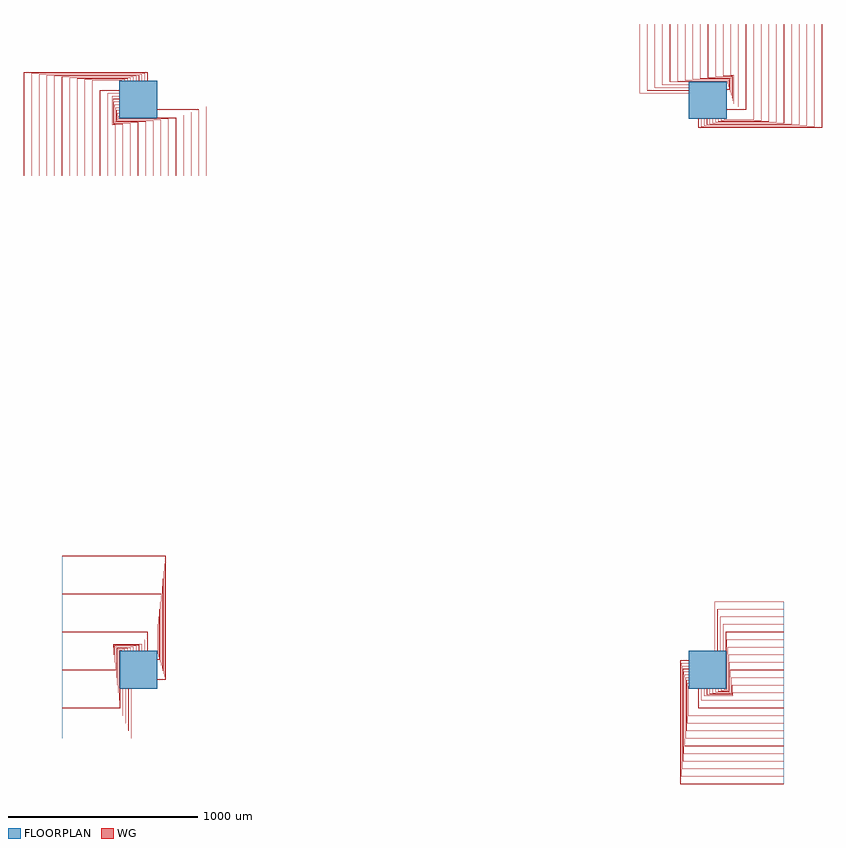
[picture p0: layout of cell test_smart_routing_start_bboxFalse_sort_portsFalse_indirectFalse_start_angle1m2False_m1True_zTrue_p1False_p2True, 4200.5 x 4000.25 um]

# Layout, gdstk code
import gdstk
lib = gdstk.Library(unit=1e-6, precision=1e-09)
def R(c, l, rs):  # rectangles x0, y0, x1, y1
    for r in rs: c.add(gdstk.rectangle(r[:2], r[2:], *l))
def P(c, l, *ps):  # polygons
    for p in ps: c.add(gdstk.Polygon(p, *l))
WG = (1, 0)
FLOORPLAN = (10, 0)

test_smart_routing_start = lib.new_cell('test_smart_routing_start_bboxFalse_sort_portsFalse_indirectFalse_start_angle1m2False_m1True_zTrue_p1False_p2True')
P(test_smart_routing_start, WG, [(100,-50.25),(100,-49.75),(144.5,-49.75),(144.5,599.75),(-400,599.75),(-400,600.25),(145,600.25),(145,-50.25)],
  [(100,-35.25),(100,-34.75),(140,-34.75),(140,559.75),(-400,559.75),(-400,560.25),(140.5,560.25),(140.5,-35.25)],
  [(100,-20.25),(100,-19.75),(135.5,-19.75),(135.5,519.75),(-400,519.75),(-400,520.25),(136,520.25),(136,-20.25)],
  [(100,-5.25),(100,-4.75),(131,-4.75),(131,479.75),(-400,479.75),(-400,480.25),(131.5,480.25),(131.5,-5.25)],
  [(100,9.75),(100,10.25),(126.5,10.25),(126.5,439.75),(-400,439.75),(-400,440.25),(127,440.25),(127,9.75)],
  [(100,24.75),(100,25.25),(122,25.25),(122,399.75),(-400,399.75),(-400,400.25),(122.5,400.25),(122.5,24.75)],
  [(100,39.75),(100,40.25),(117.5,40.25),(117.5,359.75),(-400,359.75),(-400,360.25),(118,360.25),(118,39.75)],
  [(100,54.75),(100,55.25),(113,55.25),(113,319.75),(-400,319.75),(-400,320.25),(113.5,320.25),(113.5,54.75)],
  [(100,69.75),(100,70.25),(108.5,70.25),(108.5,279.75),(-400,279.75),(-400,280.25),(109,280.25),(109,69.75)],
  [(100,84.75),(100,85.25),(104,85.25),(104,239.75),(-400,239.75),(-400,240.25),(104.5,240.25),(104.5,84.75)],
  [(49.75,100),(49.75,199.75),(-400,199.75),(-400,200.25),(50.25,200.25),(50.25,100)],
  [(34.75,100),(34.75,159.75),(-400,159.75),(-400,160.25),(35.25,160.25),(35.25,100)],
  [(19.75,100),(19.75,135.5),(-130.75,135.5),(-130.75,119.75),(-400,119.75),(-400,120.25),(-131.25,120.25),(-131.25,136),(20.25,136),(20.25,100)],
  [(-400,79.75),(-400,80.25),(-126.75,80.25),(-126.75,131.5),(5.25,131.5),(5.25,100),(4.75,100),(4.75,131),(-126.25,131),(-126.25,79.75)],
  [(-400,39.75),(-400,40.25),(-122.25,40.25),(-122.25,127),(-9.75,127),(-9.75,100),(-10.25,100),(-10.25,126.5),(-121.75,126.5),(-121.75,39.75)],
  [(-400,-0.25),(-400,0.25),(-117.75,0.25),(-117.75,122.5),(-24.75,122.5),(-24.75,100),(-25.25,100),(-25.25,122),(-117.25,122),(-117.25,-0.25)],
  [(-400,-40.25),(-400,-39.75),(-113.25,-39.75),(-113.25,118),(-39.75,118),(-39.75,100),(-40.25,100),(-40.25,117.5),(-112.75,117.5),(-112.75,-40.25)],
  [(-400,-80.25),(-400,-79.75),(-108.75,-79.75),(-108.75,113.5),(-54.75,113.5),(-54.75,100),(-55.25,100),(-55.25,113),(-108.25,113),(-108.25,-80.25)],
  [(-400,-120.25),(-400,-119.75),(-104.25,-119.75),(-104.25,109),(-69.75,109),(-69.75,100),(-70.25,100),(-70.25,108.5),(-103.75,108.5),(-103.75,-120.25)],
  [(-400,-160.25),(-400,-159.75),(-99.75,-159.75),(-99.75,104.5),(-84.75,104.5),(-84.75,100),(-85.25,100),(-85.25,104),(-99.25,104),(-99.25,-160.25)],
  [(-400,-360.25),(-400,-359.75),(-35.25,-359.75),(-35.25,-100),(-34.75,-100),(-34.75,-360.25)],
  [(-400,-320.25),(-400,-319.75),(-50.25,-319.75),(-50.25,-100),(-49.75,-100),(-49.75,-320.25)],
  [(-400,-280.25),(-400,-279.75),(-65.25,-279.75),(-65.25,-100),(-64.75,-100),(-64.75,-280.25)],
  [(-400,-240.25),(-400,-239.75),(-80.25,-239.75),(-80.25,-100),(-79.75,-100),(-79.75,-240.25)],
  [(-400,-200.25),(-400,-199.75),(-95.25,-199.75),(-95.25,-100),(-94.75,-100),(-94.75,-200.25)],
  [(-600.25,2600),(-600.25,3145),(50.25,3145),(50.25,3100),(49.75,3100),(49.75,3144.5),(-599.75,3144.5),(-599.75,2600)],
  [(-560.25,2600),(-560.25,3140.5),(35.25,3140.5),(35.25,3100),(34.75,3100),(34.75,3140),(-559.75,3140),(-559.75,2600)],
  [(-520.25,2600),(-520.25,3136),(20.25,3136),(20.25,3100),(19.75,3100),(19.75,3135.5),(-519.75,3135.5),(-519.75,2600)],
  [(-480.25,2600),(-480.25,3131.5),(5.25,3131.5),(5.25,3100),(4.75,3100),(4.75,3131),(-479.75,3131),(-479.75,2600)],
  [(-440.25,2600),(-440.25,3127),(-9.75,3127),(-9.75,3100),(-10.25,3100),(-10.25,3126.5),(-439.75,3126.5),(-439.75,2600)],
  [(-400.25,2600),(-400.25,3122.5),(-24.75,3122.5),(-24.75,3100),(-25.25,3100),(-25.25,3122),(-399.75,3122),(-399.75,2600)],
  [(-360.25,2600),(-360.25,3118),(-39.75,3118),(-39.75,3100),(-40.25,3100),(-40.25,3117.5),(-359.75,3117.5),(-359.75,2600)],
  [(-320.25,2600),(-320.25,3113.5),(-54.75,3113.5),(-54.75,3100),(-55.25,3100),(-55.25,3113),(-319.75,3113),(-319.75,2600)],
  [(-280.25,2600),(-280.25,3109),(-69.75,3109),(-69.75,3100),(-70.25,3100),(-70.25,3108.5),(-279.75,3108.5),(-279.75,2600)],
  [(-240.25,2600),(-240.25,3104.5),(-84.75,3104.5),(-84.75,3100),(-85.25,3100),(-85.25,3104),(-239.75,3104),(-239.75,2600)],
  [(-200.25,2600),(-200.25,3050.25),(-100,3050.25),(-100,3049.75),(-199.75,3049.75),(-199.75,2600)],
  [(-160.25,2600),(-160.25,3035.25),(-100,3035.25),(-100,3034.75),(-159.75,3034.75),(-159.75,2600)],
  [(-120.25,2600),(-120.25,2868.75),(-136,2868.75),(-136,3020.25),(-100,3020.25),(-100,3019.75),(-135.5,3019.75),(-135.5,2869.25),(-119.75,2869.25),(-119.75,2600)],
  [(-80.25,2600),(-80.25,2873.25),(-131.5,2873.25),(-131.5,3005.25),(-100,3005.25),(-100,3004.75),(-131,3004.75),(-131,2873.75),(-79.75,2873.75),(-79.75,2600)],
  [(-40.25,2600),(-40.25,2877.75),(-127,2877.75),(-127,2990.25),(-100,2990.25),(-100,2989.75),(-126.5,2989.75),(-126.5,2878.25),(-39.75,2878.25),(-39.75,2600)],
  [(-0.25,2600),(-0.25,2882.25),(-122.5,2882.25),(-122.5,2975.25),(-100,2975.25),(-100,2974.75),(-122,2974.75),(-122,2882.75),(0.25,2882.75),(0.25,2600)],
  [(39.75,2600),(39.75,2886.75),(-118,2886.75),(-118,2960.25),(-100,2960.25),(-100,2959.75),(-117.5,2959.75),(-117.5,2887.25),(40.25,2887.25),(40.25,2600)],
  [(79.75,2600),(79.75,2891.25),(-113.5,2891.25),(-113.5,2945.25),(-100,2945.25),(-100,2944.75),(-113,2944.75),(-113,2891.75),(80.25,2891.75),(80.25,2600)],
  [(119.75,2600),(119.75,2895.75),(-109,2895.75),(-109,2930.25),(-100,2930.25),(-100,2929.75),(-108.5,2929.75),(-108.5,2896.25),(120.25,2896.25),(120.25,2600)],
  [(159.75,2600),(159.75,2900.25),(-104.5,2900.25),(-104.5,2915.25),(-100,2915.25),(-100,2914.75),(-104,2914.75),(-104,2900.75),(160.25,2900.75),(160.25,2600)],
  [(359.75,2600),(359.75,2964.75),(100,2964.75),(100,2965.25),(360.25,2965.25),(360.25,2600)],
  [(319.75,2600),(319.75,2949.75),(100,2949.75),(100,2950.25),(320.25,2950.25),(320.25,2600)],
  [(279.75,2600),(279.75,2934.75),(100,2934.75),(100,2935.25),(280.25,2935.25),(280.25,2600)],
  [(239.75,2600),(239.75,2919.75),(100,2919.75),(100,2920.25),(240.25,2920.25),(240.25,2600)],
  [(199.75,2600),(199.75,2904.75),(100,2904.75),(100,2905.25),(200.25,2905.25),(200.25,2600)],
  [(2855,-600.25),(2855,50.25),(2900,50.25),(2900,49.75),(2855.5,49.75),(2855.5,-599.75),(3400,-599.75),(3400,-600.25)],
  [(2859.5,-560.25),(2859.5,35.25),(2900,35.25),(2900,34.75),(2860,34.75),(2860,-559.75),(3400,-559.75),(3400,-560.25)],
  [(2864,-520.25),(2864,20.25),(2900,20.25),(2900,19.75),(2864.5,19.75),(2864.5,-519.75),(3400,-519.75),(3400,-520.25)],
  [(2868.5,-480.25),(2868.5,5.25),(2900,5.25),(2900,4.75),(2869,4.75),(2869,-479.75),(3400,-479.75),(3400,-480.25)],
  [(2873,-440.25),(2873,-9.75),(2900,-9.75),(2900,-10.25),(2873.5,-10.25),(2873.5,-439.75),(3400,-439.75),(3400,-440.25)],
  [(2877.5,-400.25),(2877.5,-24.75),(2900,-24.75),(2900,-25.25),(2878,-25.25),(2878,-399.75),(3400,-399.75),(3400,-400.25)],
  [(2882,-360.25),(2882,-39.75),(2900,-39.75),(2900,-40.25),(2882.5,-40.25),(2882.5,-359.75),(3400,-359.75),(3400,-360.25)],
  [(2886.5,-320.25),(2886.5,-54.75),(2900,-54.75),(2900,-55.25),(2887,-55.25),(2887,-319.75),(3400,-319.75),(3400,-320.25)],
  [(2891,-280.25),(2891,-69.75),(2900,-69.75),(2900,-70.25),(2891.5,-70.25),(2891.5,-279.75),(3400,-279.75),(3400,-280.25)],
  [(2895.5,-240.25),(2895.5,-84.75),(2900,-84.75),(2900,-85.25),(2896,-85.25),(2896,-239.75),(3400,-239.75),(3400,-240.25)],
  [(2949.75,-200.25),(2949.75,-100),(2950.25,-100),(2950.25,-199.75),(3400,-199.75),(3400,-200.25)],
  [(2964.75,-160.25),(2964.75,-100),(2965.25,-100),(2965.25,-159.75),(3400,-159.75),(3400,-160.25)],
  [(2979.75,-136),(2979.75,-100),(2980.25,-100),(2980.25,-135.5),(3130.75,-135.5),(3130.75,-119.75),(3400,-119.75),(3400,-120.25),(3131.25,-120.25),(3131.25,-136)],
  [(2994.75,-131.5),(2994.75,-100),(2995.25,-100),(2995.25,-131),(3126.25,-131),(3126.25,-79.75),(3400,-79.75),(3400,-80.25),(3126.75,-80.25),(3126.75,-131.5)],
  [(3009.75,-127),(3009.75,-100),(3010.25,-100),(3010.25,-126.5),(3121.75,-126.5),(3121.75,-39.75),(3400,-39.75),(3400,-40.25),(3122.25,-40.25),(3122.25,-127)],
  [(3024.75,-122.5),(3024.75,-100),(3025.25,-100),(3025.25,-122),(3117.25,-122),(3117.25,0.25),(3400,0.25),(3400,-0.25),(3117.75,-0.25),(3117.75,-122.5)],
  [(3039.75,-118),(3039.75,-100),(3040.25,-100),(3040.25,-117.5),(3112.75,-117.5),(3112.75,40.25),(3400,40.25),(3400,39.75),(3113.25,39.75),(3113.25,-118)],
  [(3054.75,-113.5),(3054.75,-100),(3055.25,-100),(3055.25,-113),(3108.25,-113),(3108.25,80.25),(3400,80.25),(3400,79.75),(3108.75,79.75),(3108.75,-113.5)],
  [(3069.75,-109),(3069.75,-100),(3070.25,-100),(3070.25,-108.5),(3103.75,-108.5),(3103.75,120.25),(3400,120.25),(3400,119.75),(3104.25,119.75),(3104.25,-109)],
  [(3084.75,-104.5),(3084.75,-100),(3085.25,-100),(3085.25,-104),(3099.25,-104),(3099.25,160.25),(3400,160.25),(3400,159.75),(3099.75,159.75),(3099.75,-104.5)],
  [(3034.75,100),(3034.75,360.25),(3400,360.25),(3400,359.75),(3035.25,359.75),(3035.25,100)],
  [(3049.75,100),(3049.75,320.25),(3400,320.25),(3400,319.75),(3050.25,319.75),(3050.25,100)],
  [(3064.75,100),(3064.75,280.25),(3400,280.25),(3400,279.75),(3065.25,279.75),(3065.25,100)],
  [(3079.75,100),(3079.75,240.25),(3400,240.25),(3400,239.75),(3080.25,239.75),(3080.25,100)],
  [(3094.75,100),(3094.75,200.25),(3400,200.25),(3400,199.75),(3095.25,199.75),(3095.25,100)],
  [(2949.75,2855),(2949.75,2900),(2950.25,2900),(2950.25,2855.5),(3599.75,2855.5),(3599.75,3400),(3600.25,3400),(3600.25,2855)],
  [(2964.75,2859.5),(2964.75,2900),(2965.25,2900),(2965.25,2860),(3559.75,2860),(3559.75,3400),(3560.25,3400),(3560.25,2859.5)],
  [(2979.75,2864),(2979.75,2900),(2980.25,2900),(2980.25,2864.5),(3519.75,2864.5),(3519.75,3400),(3520.25,3400),(3520.25,2864)],
  [(2994.75,2868.5),(2994.75,2900),(2995.25,2900),(2995.25,2869),(3479.75,2869),(3479.75,3400),(3480.25,3400),(3480.25,2868.5)],
  [(3009.75,2873),(3009.75,2900),(3010.25,2900),(3010.25,2873.5),(3439.75,2873.5),(3439.75,3400),(3440.25,3400),(3440.25,2873)],
  [(3024.75,2877.5),(3024.75,2900),(3025.25,2900),(3025.25,2878),(3399.75,2878),(3399.75,3400),(3400.25,3400),(3400.25,2877.5)],
  [(3039.75,2882),(3039.75,2900),(3040.25,2900),(3040.25,2882.5),(3359.75,2882.5),(3359.75,3400),(3360.25,3400),(3360.25,2882)],
  [(3054.75,2886.5),(3054.75,2900),(3055.25,2900),(3055.25,2887),(3319.75,2887),(3319.75,3400),(3320.25,3400),(3320.25,2886.5)],
  [(3069.75,2891),(3069.75,2900),(3070.25,2900),(3070.25,2891.5),(3279.75,2891.5),(3279.75,3400),(3280.25,3400),(3280.25,2891)],
  [(3084.75,2895.5),(3084.75,2900),(3085.25,2900),(3085.25,2896),(3239.75,2896),(3239.75,3400),(3240.25,3400),(3240.25,2895.5)],
  [(3100,2949.75),(3100,2950.25),(3199.75,2950.25),(3199.75,3400),(3200.25,3400),(3200.25,2949.75)],
  [(3100,2964.75),(3100,2965.25),(3159.75,2965.25),(3159.75,3400),(3160.25,3400),(3160.25,2964.75)],
  [(3100,2979.75),(3100,2980.25),(3135.5,2980.25),(3135.5,3130.75),(3119.75,3130.75),(3119.75,3400),(3120.25,3400),(3120.25,3131.25),(3136,3131.25),(3136,2979.75)],
  [(3100,2994.75),(3100,2995.25),(3131,2995.25),(3131,3126.25),(3079.75,3126.25),(3079.75,3400),(3080.25,3400),(3080.25,3126.75),(3131.5,3126.75),(3131.5,2994.75)],
  [(3100,3009.75),(3100,3010.25),(3126.5,3010.25),(3126.5,3121.75),(3039.75,3121.75),(3039.75,3400),(3040.25,3400),(3040.25,3122.25),(3127,3122.25),(3127,3009.75)],
  [(3100,3024.75),(3100,3025.25),(3122,3025.25),(3122,3117.25),(2999.75,3117.25),(2999.75,3400),(3000.25,3400),(3000.25,3117.75),(3122.5,3117.75),(3122.5,3024.75)],
  [(3100,3039.75),(3100,3040.25),(3117.5,3040.25),(3117.5,3112.75),(2959.75,3112.75),(2959.75,3400),(2960.25,3400),(2960.25,3113.25),(3118,3113.25),(3118,3039.75)],
  [(3100,3054.75),(3100,3055.25),(3113,3055.25),(3113,3108.25),(2919.75,3108.25),(2919.75,3400),(2920.25,3400),(2920.25,3108.75),(3113.5,3108.75),(3113.5,3054.75)],
  [(3100,3069.75),(3100,3070.25),(3108.5,3070.25),(3108.5,3103.75),(2879.75,3103.75),(2879.75,3400),(2880.25,3400),(2880.25,3104.25),(3109,3104.25),(3109,3069.75)],
  [(3100,3084.75),(3100,3085.25),(3104,3085.25),(3104,3099.25),(2839.75,3099.25),(2839.75,3400),(2840.25,3400),(2840.25,3099.75),(3104.5,3099.75),(3104.5,3084.75)],
  [(2639.75,3034.75),(2639.75,3400),(2640.25,3400),(2640.25,3035.25),(2900,3035.25),(2900,3034.75)],
  [(2679.75,3049.75),(2679.75,3400),(2680.25,3400),(2680.25,3050.25),(2900,3050.25),(2900,3049.75)],
  [(2719.75,3064.75),(2719.75,3400),(2720.25,3400),(2720.25,3065.25),(2900,3065.25),(2900,3064.75)],
  [(2759.75,3079.75),(2759.75,3400),(2760.25,3400),(2760.25,3080.25),(2900,3080.25),(2900,3079.75)],
  [(2799.75,3094.75),(2799.75,3400),(2800.25,3400),(2800.25,3095.25),(2900,3095.25),(2900,3094.75)])
R(test_smart_routing_start, FLOORPLAN, [(-95,-100,100,100), (2900,-100,3095,100), (2900,2900,3100,3095), (-100,2905,100,3100)])
P(test_smart_routing_start, FLOORPLAN, [(-400,-360),(-400,600),(-400,600),(-400,-360)],
  [(-600,2600),(-600,2600),(360,2600),(360,2600)],
  [(3400,-600),(3400,360),(3400,360),(3400,-600)],
  [(2640,3400),(2640,3400),(3600,3400),(3600,3400)])

lib.write_gds('test_smart_routing_start_bboxFalse_sort_portsFalse_indirectFalse_start_angle1m2False_m1True_zTrue_p1False_p2True.gds')
